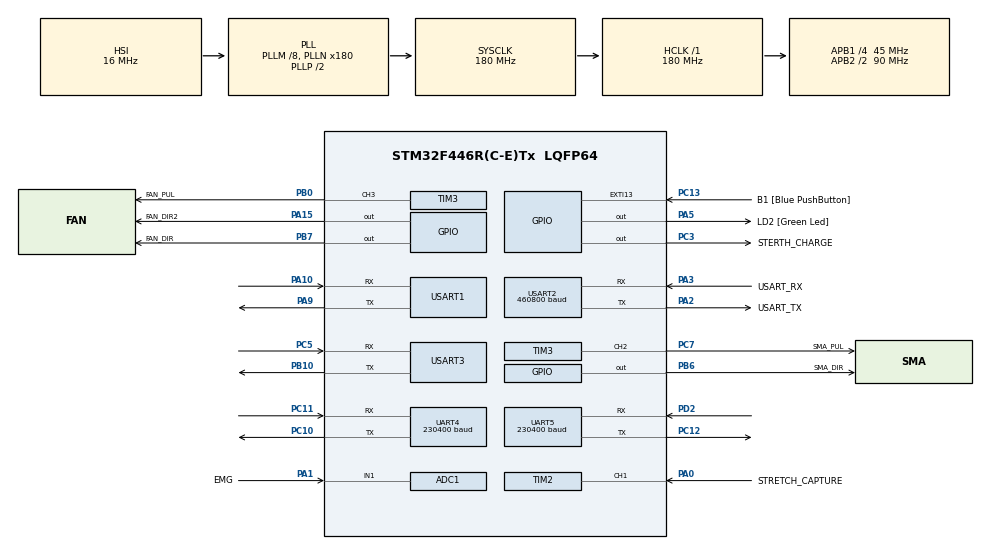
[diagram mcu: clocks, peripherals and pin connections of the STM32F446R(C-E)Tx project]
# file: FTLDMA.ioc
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ADC1.Channel-10\#ChannelRegularConversion=ADC_CHANNEL_1
ADC1.ContinuousConvMode=ENABLE
ADC1.DMAContinuousRequests=ENABLE
ADC1.EOCSelection=ADC_EOC_SINGLE_CONV
ADC1.ExternalTrigConv=ADC_SOFTWARE_START
ADC1.NbrOfConversion=1
ADC1.NbrOfConversionFlag=1
ADC1.Rank-10\#ChannelRegularConversion=1
ADC1.SamplingTime-10\#ChannelRegularConversion=ADC_SAMPLETIME_56CYCLES
ADC1.ScanConvMode=DISABLE
ADC1.master=1
Dma.ADC1.4.Direction=DMA_PERIPH_TO_MEMORY
Dma.ADC1.4.FIFOMode=DMA_FIFOMODE_DISABLE
Dma.ADC1.4.Instance=DMA2_Stream0
Dma.ADC1.4.MemDataAlignment=DMA_MDATAALIGN_HALFWORD
Dma.ADC1.4.MemInc=DMA_MINC_ENABLE
Dma.ADC1.4.Mode=DMA_CIRCULAR
Dma.ADC1.4.PeriphDataAlignment=DMA_PDATAALIGN_HALFWORD
Dma.ADC1.4.PeriphInc=DMA_PINC_DISABLE
Dma.ADC1.4.Priority=DMA_PRIORITY_LOW
Dma.Request0=USART2_RX
Dma.Request1=USART1_RX
Dma.Request2=UART4_RX
Dma.Request3=UART5_RX
Dma.Request4=ADC1
Dma.Request5=USART3_RX
Dma.UART4_RX.2.Direction=DMA_PERIPH_TO_MEMORY
Dma.UART4_RX.2.FIFOMode=DMA_FIFOMODE_DISABLE
Dma.UART4_RX.2.Instance=DMA1_Stream2
Dma.UART4_RX.2.MemDataAlignment=DMA_MDATAALIGN_BYTE
Dma.UART4_RX.2.MemInc=DMA_MINC_ENABLE
Dma.UART4_RX.2.Mode=DMA_CIRCULAR
Dma.UART4_RX.2.PeriphDataAlignment=DMA_PDATAALIGN_BYTE
Dma.UART4_RX.2.PeriphInc=DMA_PINC_DISABLE
Dma.UART4_RX.2.Priority=DMA_PRIORITY_LOW
Dma.UART5_RX.3.Direction=DMA_PERIPH_TO_MEMORY
Dma.UART5_RX.3.FIFOMode=DMA_FIFOMODE_DISABLE
Dma.UART5_RX.3.Instance=DMA1_Stream0
Dma.UART5_RX.3.MemDataAlignment=DMA_MDATAALIGN_BYTE
Dma.UART5_RX.3.MemInc=DMA_MINC_ENABLE
Dma.UART5_RX.3.Mode=DMA_CIRCULAR
Dma.UART5_RX.3.PeriphDataAlignment=DMA_PDATAALIGN_BYTE
Dma.UART5_RX.3.PeriphInc=DMA_PINC_DISABLE
Dma.UART5_RX.3.Priority=DMA_PRIORITY_LOW
Dma.USART1_RX.1.Direction=DMA_PERIPH_TO_MEMORY
Dma.USART1_RX.1.FIFOMode=DMA_FIFOMODE_DISABLE
Dma.USART1_RX.1.Instance=DMA2_Stream2
Dma.USART1_RX.1.MemDataAlignment=DMA_MDATAALIGN_BYTE
Dma.USART1_RX.1.MemInc=DMA_MINC_ENABLE
Dma.USART1_RX.1.Mode=DMA_CIRCULAR
Dma.USART1_RX.1.PeriphDataAlignment=DMA_PDATAALIGN_BYTE
Dma.USART1_RX.1.PeriphInc=DMA_PINC_DISABLE
Dma.USART1_RX.1.Priority=DMA_PRIORITY_LOW
Dma.USART2_RX.0.Direction=DMA_PERIPH_TO_MEMORY
Dma.USART2_RX.0.FIFOMode=DMA_FIFOMODE_DISABLE
Dma.USART2_RX.0.Instance=DMA1_Stream5
Dma.USART2_RX.0.MemDataAlignment=DMA_MDATAALIGN_BYTE
Dma.USART2_RX.0.MemInc=DMA_MINC_ENABLE
Dma.USART2_RX.0.Mode=DMA_CIRCULAR
Dma.USART2_RX.0.PeriphDataAlignment=DMA_PDATAALIGN_BYTE
Dma.USART2_RX.0.PeriphInc=DMA_PINC_DISABLE
Dma.USART2_RX.0.Priority=DMA_PRIORITY_LOW
Dma.USART3_RX.5.Direction=DMA_PERIPH_TO_MEMORY
Dma.USART3_RX.5.FIFOMode=DMA_FIFOMODE_DISABLE
Dma.USART3_RX.5.Instance=DMA1_Stream1
Dma.USART3_RX.5.MemDataAlignment=DMA_MDATAALIGN_BYTE
Dma.USART3_RX.5.MemInc=DMA_MINC_ENABLE
Dma.USART3_RX.5.Mode=DMA_CIRCULAR
Dma.USART3_RX.5.PeriphDataAlignment=DMA_PDATAALIGN_BYTE
Dma.USART3_RX.5.PeriphInc=DMA_PINC_DISABLE
Dma.USART3_RX.5.Priority=DMA_PRIORITY_LOW
Mcu.Family=STM32F4
Mcu.Name=STM32F446R(C-E)Tx
Mcu.Package=LQFP64
NVIC.ADC_IRQn=true\:0\:0\:false\:false\:true\:true\:true\:true
NVIC.DMA1_Stream0_IRQn=true\:1\:0\:true\:false\:true\:true\:true\:true
NVIC.DMA1_Stream1_IRQn=true\:0\:0\:false\:false\:true\:true\:true\:true
NVIC.DMA1_Stream2_IRQn=true\:1\:0\:true\:false\:true\:true\:true\:true
NVIC.DMA1_Stream5_IRQn=true\:1\:0\:true\:false\:true\:true\:true\:true
NVIC.DMA2_Stream0_IRQn=true\:0\:0\:false\:false\:true\:true\:true\:true
NVIC.DMA2_Stream2_IRQn=true\:1\:0\:true\:false\:true\:true\:true\:true
NVIC.EXTI15_10_IRQn=true\:0\:0\:false\:false\:true\:true\:true\:true
NVIC.PriorityGroup=NVIC_PRIORITYGROUP_4
NVIC.TIM2_IRQn=true\:0\:0\:true\:false\:true\:true\:true\:true
NVIC.TIM4_IRQn=true\:0\:0\:true\:false\:true\:true\:true\:true
NVIC.UART4_IRQn=true\:1\:0\:true\:false\:true\:true\:true\:true
NVIC.UART5_IRQn=true\:1\:0\:true\:false\:true\:true\:true\:true
NVIC.USART1_IRQn=true\:1\:0\:true\:false\:true\:true\:true\:true
NVIC.USART2_IRQn=true\:1\:0\:true\:false\:true\:true\:true\:true
NVIC.USART3_IRQn=true\:0\:0\:false\:false\:true\:true\:true\:true
PA0-WKUP.GPIO_Label=STRETCH_CAPTURE
PA0-WKUP.Signal=S_TIM2_CH1_ETR
PA1.GPIO_Label=EMG
PA1.Signal=ADCx_IN1
PA10.Mode=Asynchronous
PA10.Signal=USART1_RX
PA13.GPIO_Label=TMS
PA13.Mode=Serial_Wire
PA13.Signal=SYS_JTMS-SWDIO
PA14.GPIO_Label=TCK
PA14.Mode=Serial_Wire
PA14.Signal=SYS_JTCK-SWCLK
PA15.GPIO_Label=FAN_DIR2
PA15.GPIO_Speed=GPIO_SPEED_FREQ_MEDIUM
PA15.PinState=GPIO_PIN_SET
PA15.Signal=GPIO_Output
PA2.GPIO_Label=USART_TX
PA2.Mode=Asynchronous
PA2.Signal=USART2_TX
PA3.GPIO_Label=USART_RX
PA3.Mode=Asynchronous
PA3.Signal=USART2_RX
PA5.GPIO_Label=LD2 [Green Led]
PA5.Signal=GPIO_Output
PA9.Mode=Asynchronous
PA9.Signal=USART1_TX
PB0.GPIO_Label=FAN_PUL
PB0.GPIO_Speed=GPIO_SPEED_FREQ_MEDIUM
PB0.Signal=S_TIM3_CH3
PB10.Mode=Asynchronous
PB10.Signal=USART3_TX
PB3.GPIO_Label=SWO
PB3.Signal=SYS_JTDO-SWO
PB6.GPIO_Label=SMA_DIR
PB6.GPIO_Speed=GPIO_SPEED_FREQ_MEDIUM
PB6.PinState=GPIO_PIN_SET
PB6.Signal=GPIO_Output
PB7.GPIO_Label=FAN_DIR
PB7.GPIO_Speed=GPIO_SPEED_FREQ_MEDIUM
PB7.PinState=GPIO_PIN_RESET
PB7.Signal=GPIO_Output
PC10.Mode=Asynchronous
PC10.Signal=UART4_TX
PC11.Mode=Asynchronous
PC11.Signal=UART4_RX
PC12.Mode=Asynchronous
PC12.Signal=UART5_TX
PC13.GPIO_Label=B1 [Blue PushButton]
PC13.GPIO_ModeDefaultEXTI=GPIO_MODE_IT_FALLING
PC13.Signal=GPXTI13
PC14-OSC32_IN.Mode=LSE-External-Oscillator
PC14-OSC32_IN.Signal=RCC_OSC32_IN
PC15-OSC32_OUT.Mode=LSE-External-Oscillator
PC15-OSC32_OUT.Signal=RCC_OSC32_OUT
PC3.GPIO_Label=STERTH_CHARGE
PC3.GPIO_ModeDefaultOutputPP=GPIO_MODE_OUTPUT_PP
PC3.GPIO_PuPd=GPIO_NOPULL
PC3.GPIO_Speed=GPIO_SPEED_FREQ_VERY_HIGH
PC3.PinState=GPIO_PIN_SET
PC3.Signal=GPIO_Output
PC5.Mode=Asynchronous
PC5.Signal=USART3_RX
PC7.GPIO_Label=SMA_PUL
PC7.GPIO_Speed=GPIO_SPEED_FREQ_MEDIUM
PC7.Signal=S_TIM3_CH2
PD2.Mode=Asynchronous
PD2.Signal=UART5_RX
PH0-OSC_IN.Mode=HSE-External-Oscillator
PH0-OSC_IN.Signal=RCC_OSC_IN
PH1-OSC_OUT.Mode=HSE-External-Oscillator
PH1-OSC_OUT.Signal=RCC_OSC_OUT
ProjectManager.HeapSize=0x200
ProjectManager.StackSize=0x400
ProjectManager.TargetToolchain=STM32CubeIDE
RCC.48MHZClocksFreq_Value=84000000
RCC.AHBFreq_Value=180000000
RCC.APB1CLKDivider=RCC_HCLK_DIV4
RCC.APB1Freq_Value=45000000
RCC.APB1TimFreq_Value=90000000
RCC.APB2CLKDivider=RCC_HCLK_DIV2
RCC.APB2Freq_Value=90000000
RCC.APB2TimFreq_Value=180000000
RCC.CortexFreq_Value=180000000
RCC.FLatency-AdvancedSettings=FLASH_LATENCY_5
RCC.HCLKFreq_Value=180000000
RCC.HSE_VALUE=8000000
RCC.HSI_VALUE=16000000
RCC.PLLM=8
RCC.PLLN=180
RCC.SYSCLKFreq_VALUE=180000000
RCC.SYSCLKSource=RCC_SYSCLKSOURCE_PLLCLK
RCC.USBFreq_Value=180000000
RCC.VCOOutputFreq_Value=360000000
SH.ADCx_IN1.0=ADC1_IN1,IN1
SH.S_TIM2_CH1_ETR.0=TIM2_CH1,Input_Capture1_from_TI1
SH.S_TIM3_CH2.0=TIM3_CH2,PWM Generation2 CH2
SH.S_TIM3_CH3.0=TIM3_CH3,PWM Generation3 CH3
TIM2.Channel-Input_Capture1_from_TI1=TIM_CHANNEL_1
TIM2.Period=3999999999
TIM2.Prescaler=0
TIM2.TIM_MasterOutputTrigger=TIM_TRGO_UPDATE
TIM3.Channel-PWM\ Generation2\ CH2=TIM_CHANNEL_2
TIM3.Channel-PWM\ Generation3\ CH3=TIM_CHANNEL_3
TIM3.OCFastMode_PWM-PWM\ Generation2\ CH2=TIM_OCFAST_ENABLE
TIM3.OCFastMode_PWM-PWM\ Generation3\ CH3=TIM_OCFAST_ENABLE
TIM3.Period=2999
TIM3.Prescaler=0
TIM3.TIM_MasterOutputTrigger=TIM_TRGO_UPDATE
TIM4.Period=59999
TIM4.Prescaler=14
TIM4.TIM_MasterOutputTrigger=TIM_TRGO_UPDATE
TIM8.Period=44999
TIM8.Prescaler=1
TIM8.TIM_MasterOutputTrigger=TIM_TRGO_UPDATE
UART4.BaudRate=230400
UART4.VirtualMode=Asynchronous
UART5.BaudRate=230400
UART5.VirtualMode=Asynchronous
USART1.VirtualMode=VM_ASYNC
USART2.BaudRate=460800
USART2.VirtualMode=VM_ASYNC
USART3.VirtualMode=VM_ASYNC
VP_TIM2_VS_ClockSourceINT.Mode=Internal
VP_TIM3_VS_ClockSourceINT.Mode=Internal
VP_TIM4_VS_ClockSourceINT.Mode=Internal
VP_TIM8_VS_ClockSourceINT.Mode=Internal
board=NUCLEO-F446RE

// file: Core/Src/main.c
/* USER CODE BEGIN Header */
/**
  ******************************************************************************
  * @file           : main.c
  * @brief          : Main program body
  ******************************************************************************
  * @attention
  *
  * Copyright (c) 2024 STMicroelectronics.
  * All rights reserved.
  *
  * This software is licensed under terms that can be found in the LICENSE file
  * in the root directory of this software component.
  * If no LICENSE file comes with this software, it is provided AS-IS.
  *
  ******************************************************************************
  */
/* USER CODE END Header */
#include "main.h"

/* USER CODE BEGIN Includes */
#include <stdio.h>
#include <stdint.h>
#include <stdlib.h>
#include <math.h>
#include <inttypes.h>
#include <string.h>
#include <filters.h>
#include <ctype.h>

/* USER CODE END Includes */

/* USER CODE BEGIN PD */
#define SBUF_SIZE 64
#define PI 3.14159265358979323846

/* 서미스터 계산에 필요한 상수 정의 (3.3V, 12비트 ADC, 기준저항 10kΩ) */
#define ADC_MAX        4095.0f
#define VREF           3.3f
#define REF_RESISTOR   10000.0f  // 기준 저항값(10kΩ)

/* Steinhart-Hart 계수 (SRS Thermistor Calculator에서 구한 값) */
#define A_COEFF 1.128167446e-3f
#define B_COEFF 2.324706017e-4f
#define C_COEFF 8.072137307e-8f
/* USER CODE END PD */

ADC_HandleTypeDef hadc1;
DMA_HandleTypeDef hdma_adc1;

TIM_HandleTypeDef htim2;
TIM_HandleTypeDef htim3;
TIM_HandleTypeDef htim4;
TIM_HandleTypeDef htim8;

UART_HandleTypeDef huart4;
UART_HandleTypeDef huart5;
UART_HandleTypeDef huart1;
UART_HandleTypeDef huart2;
UART_HandleTypeDef huart3;
DMA_HandleTypeDef hdma_uart4_rx;
DMA_HandleTypeDef hdma_uart5_rx;
DMA_HandleTypeDef hdma_usart1_rx;
DMA_HandleTypeDef hdma_usart2_rx;
DMA_HandleTypeDef hdma_usart3_rx;

/* USER CODE BEGIN PV */
/******FLAGS******/
volatile uint8_t tim4Flag = 0;
volatile uint8_t spi2Flag = 0;
volatile uint8_t tempFlag = 1;
volatile uint8_t expFlag = 0;
volatile uint8_t actFlag = 0;
volatile uint8_t adc1Flag = 0;
volatile uint8_t adc2Flag = 0;

/******COUNT******/
uint32_t count = 0;
uint8_t exp_count = 0;
uint16_t sample_count = 0;
volatile uint32_t cycle_counter = 0;

/******SENSORS******/
float temp = 0.0;
float length = 0; //Length of stretch sensor
float angle = 0.0;
uint8_t force_buf[20];
float force;
uint8_t sign;
uint32_t adcval1;
uint32_t adcval2;

double emg_raw = 0.0;
double EMGMAF = 0.0;
float muscle = 0.0;
float target_temp = 30.0;
float target_force = 0.0;
float muscle_force = 0.0;
float muscle_act = 0.0;
float muscle_MAF = 0.0;
float test = 0.0;

/******CONTROLLER******/
float pgain = 50.0f;
float igain = 0.10f;
float dgain = 1.0f;

float p_control = 0.0f;
float i_control = 0.0f;
float d_control = 0.0f;
float pid_control = 0.0f;
float real_error = 0.0f;
float acc_error = 0.0f;
float error_gap = 0.0f;

uint8_t pid_buf[5];

volatile uint32_t lastTick = 0;
volatile float dt = 0.1f;
float prev_error = 0.0f;

/******FILTER******/
float alpha = 0.98;  //Coefficient of integral filter
float prev_output = 0;  //Previous value of integral filter

/******SERIAL COMMUNICATION SETTINGS******/
uint8_t uart4_rx_buffer[UART4_RX_BUFFER_SIZE];
uint8_t uart5_rx_buffer[UART5_RX_BUFFER_SIZE];

// 기타 UART/USART DMA 수신 버퍼
uint8_t usart1_rx_buffer[USART1_RX_BUFFER_SIZE];
uint8_t usart2_rx_buffer[USART2_RX_BUFFER_SIZE];
uint8_t usart3_rx_buffer[USART3_RX_BUFFER_SIZE];

// IMU 파싱 결과 저장 (각 3개: Roll, Pitch, Yaw)
float euler1[6] = {0};  // UART4
float euler2[6] = {0};  // UART5

float kneeAngleMAF = 0.0;

// IMU 데이터 파싱 완료 플래그
volatile uint8_t imu4_flag = 0;
volatile uint8_t imu5_flag = 0;
/* USER CODE END PV */

void SystemClock_Config(void);
static void MX_GPIO_Init(void);
static void MX_DMA_Init(void);
static void MX_USART2_UART_Init(void);
static void MX_TIM2_Init(void);
static void MX_TIM4_Init(void);
static void MX_USART3_UART_Init(void);
static void MX_TIM3_Init(void);
static void MX_UART5_Init(void);
static void MX_USART1_UART_Init(void);
static void MX_TIM8_Init(void);
static void MX_UART4_Init(void);
static void MX_ADC1_Init(void);
/* USER CODE BEGIN PFP */
float KneeAngleEstimation(void);
float GetMatchingLength(float filteredValue);
static float ConvertThermistorSH(uint32_t adcValue);
int _write(int file, char* p, int len){
    HAL_UART_Transmit(&huart2, (uint8_t*)p, len, 1);
    return len;
}

void UpdatePIDControl(float measured_force);
void UpdateDeltaTime(void);
/* USER CODE END PFP */

int main(void)
{

  /* MCU Configuration--------------------------------------------------------*/

  /* Reset of all peripherals, Initializes the Flash interface and the Systick. */
  HAL_Init();

  /* Configure the system clock */
  SystemClock_Config();

  /* Initialize all configured peripherals */
  MX_GPIO_Init();
  MX_DMA_Init();
  MX_USART2_UART_Init();
  MX_TIM2_Init();
  MX_TIM4_Init();
  MX_USART3_UART_Init();
  MX_TIM3_Init();
  MX_UART5_Init();
  MX_USART1_UART_Init();
  MX_TIM8_Init();
  MX_UART4_Init();
  MX_ADC1_Init();
  /* USER CODE BEGIN 2 */
  HAL_TIM_IC_Start_IT(&htim2, TIM_CHANNEL_1);
  HAL_TIM_Base_Start_IT(&htim4);
  HAL_TIM_PWM_Start(&htim3, TIM_CHANNEL_2);
  HAL_TIM_PWM_Start(&htim3, TIM_CHANNEL_3);
  HAL_TIM_Base_Start(&htim8);
  HAL_ADC_Start_DMA(&hadc1, &adcval1, 1);
  HAL_UART_Receive_DMA(&huart1, usart1_rx_buffer, USART1_RX_BUFFER_SIZE);
  HAL_UART_Receive_DMA(&huart2, usart2_rx_buffer, USART2_RX_BUFFER_SIZE);
  HAL_UART_Receive_DMA(&huart3, usart3_rx_buffer, USART3_RX_BUFFER_SIZE);
  HAL_UART_Receive_DMA(&huart4, uart4_rx_buffer, UART4_RX_BUFFER_SIZE);
  HAL_UART_Receive_DMA(&huart5, uart5_rx_buffer, UART5_RX_BUFFER_SIZE);
  __HAL_UART_ENABLE_IT(&huart1, UART_IT_IDLE);
  __HAL_UART_ENABLE_IT(&huart2, UART_IT_IDLE);
  __HAL_UART_ENABLE_IT(&huart3, UART_IT_IDLE);
  __HAL_UART_ENABLE_IT(&huart4, UART_IT_IDLE);
  __HAL_UART_ENABLE_IT(&huart5, UART_IT_IDLE);

  HAL_UART_Transmit(&huart4, (uint8_t*)"<sb6>", strlen("<sb6>"), 100);
  HAL_UART_Transmit(&huart5, (uint8_t*)"<sb6>", strlen("<sb6>"), 100);
  HAL_Delay(500);

  HAL_UART_Transmit(&huart4, (uint8_t*)"<sor10>", strlen("<sor10>"), 100);
  HAL_UART_Transmit(&huart5, (uint8_t*)"<sor10>", strlen("<sor10>"), 100);
  HAL_Delay(500);

  HAL_UART_Transmit(&huart4, (uint8_t*)"<soc1>", strlen("<soc1>"), 100);
  HAL_UART_Transmit(&huart5, (uint8_t*)"<soc1>", strlen("<soc1>"), 100);
  HAL_Delay(500);

  HAL_UART_Transmit(&huart4, (uint8_t*)"<sem0>", strlen("<sem0>"), 100);
  HAL_UART_Transmit(&huart5, (uint8_t*)"<sem0>", strlen("<sem0>"), 100);
  HAL_Delay(500);

  // 오일러각 출력모드 설정
  HAL_UART_Transmit(&huart4, (uint8_t*)"<sof1>", strlen("<sof1>"), 100);
  HAL_UART_Transmit(&huart5, (uint8_t*)"<sof1>", strlen("<sof1>"), 100);
  HAL_Delay(500);

  HAL_UART_Transmit(&huart4, (uint8_t*)"<soa5>", strlen("<soa5>"), 100);
  HAL_UART_Transmit(&huart5, (uint8_t*)"<soa5>", strlen("<soa5>"), 100);
  HAL_Delay(500);

  // 현재 자세 기준 설정
  HAL_UART_Transmit(&huart4, (uint8_t*)"<cmo>", strlen("<cmo>"), 100);
  HAL_UART_Transmit(&huart5, (uint8_t*)"<cmo>", strlen("<cmo>"), 100);
  HAL_Delay(500);

  /* USER CODE END 2 */

  /* Infinite loop */
  /* USER CODE BEGIN WHILE */
  while (1)
  {
      /******GET EMG DATA******/
      if(adc1Flag == 1){
          adc1Flag = 0;
          emg_raw = adcval1;
          double HPFEMG = EMGBWHPF(emg_raw);
          double RECEMG = fabs(HPFEMG);
          float LPFEMG = EMGBWLPF(RECEMG);
          float neural_act = NEURAL_ACTIVATION(LPFEMG);
		  muscle_act = MUSCLE_ACTIVATION(neural_act);
		  muscle_MAF = MAFEMG(muscle_act);
		  //muscle_force = FORCE_GENERATION(muscle_act);
      }

      /******MAIN******/
      if (tim4Flag == 1){
          tim4Flag = 0;

          if (expFlag == 1) {
              // 0.1Hz 사인 웨이브 계산 (주기 10초), -PI/2 위상 적용
              /*float t = (cycle_counter % 5000) * 0.01f;
              target_force = 80+((sin(2 * PI * 0.02f * t - PI/2) + 1) / 2) * 70.0f;
              cycle_counter++;*/
        	  target_force = muscle_MAF*2 - force;
        	  if(target_force > 150){
        		  target_force = 150;
        	  }
        	  else if(target_force < 0){
        		  target_force = 0;
        	  }

              // dt 업데이트 후 force(현재 힘) 기반 PID 제어 실행
              UpdateDeltaTime();
              UpdatePIDControl(force);
          }
          angle = KneeAngleEstimation();
          float filtered_streth = BWLPF(count, 4);
          length = GetMatchingLength(filtered_streth);

          //printf("%.2f,%.2f,%.2f,%.2f\r\n", temp, length, force, target_force);
          //printf("%.2f\r\n", muscle_MAF);
          //printf("%.2f,%.2f,%.2f\r\n", muscle_MAF, target_force, force);
          //printf("%.2f,%.2f,%.2f\r\n", euler1[0], euler2[0], angle);
          //printf("%.2f,%.2f\r\n", angle, muscle_MAF);
          if(muscle_MAF > 40){
        	  test = 1;
          }
          else{
        	  test = 0;
          }
          printf("%.2f,%.2f\r\n", muscle_MAF, target_force);

          sample_count++;
          count = 0;
          TIM2->CNT = 0;
          TIM2->CCR1 = 0;
          HAL_GPIO_WritePin(GPIOC, GPIO_PIN_3, GPIO_PIN_SET);
      }
  }
    /* USER CODE END WHILE */

}

void SystemClock_Config(void)
{
  RCC_OscInitTypeDef RCC_OscInitStruct = {0};
  RCC_ClkInitTypeDef RCC_ClkInitStruct = {0};

  /** Configure the main internal regulator output voltage
  */
  __HAL_RCC_PWR_CLK_ENABLE();
  __HAL_PWR_VOLTAGESCALING_CONFIG(PWR_REGULATOR_VOLTAGE_SCALE1);

  /** Initializes the RCC Oscillators according to the specified parameters
  * in the RCC_OscInitTypeDef structure.
  */
  RCC_OscInitStruct.OscillatorType = RCC_OSCILLATORTYPE_HSI;
  RCC_OscInitStruct.HSIState = RCC_HSI_ON;
  RCC_OscInitStruct.HSICalibrationValue = RCC_HSICALIBRATION_DEFAULT;
  RCC_OscInitStruct.PLL.PLLState = RCC_PLL_ON;
  RCC_OscInitStruct.PLL.PLLSource = RCC_PLLSOURCE_HSI;
  RCC_OscInitStruct.PLL.PLLM = 8;
  RCC_OscInitStruct.PLL.PLLN = 180;
  RCC_OscInitStruct.PLL.PLLP = RCC_PLLP_DIV2;
  RCC_OscInitStruct.PLL.PLLQ = 2;
  RCC_OscInitStruct.PLL.PLLR = 2;
  if (HAL_RCC_OscConfig(&RCC_OscInitStruct) != HAL_OK)
  {
    Error_Handler();
  }

  /** Activate the Over-Drive mode
  */
  if (HAL_PWREx_EnableOverDrive() != HAL_OK)
  {
    Error_Handler();
  }

  /** Initializes the CPU, AHB and APB buses clocks
  */
  RCC_ClkInitStruct.ClockType = RCC_CLOCKTYPE_HCLK|RCC_CLOCKTYPE_SYSCLK
                              |RCC_CLOCKTYPE_PCLK1|RCC_CLOCKTYPE_PCLK2;
  RCC_ClkInitStruct.SYSCLKSource = RCC_SYSCLKSOURCE_PLLCLK;
  RCC_ClkInitStruct.AHBCLKDivider = RCC_SYSCLK_DIV1;
  RCC_ClkInitStruct.APB1CLKDivider = RCC_HCLK_DIV4;
  RCC_ClkInitStruct.APB2CLKDivider = RCC_HCLK_DIV2;

  if (HAL_RCC_ClockConfig(&RCC_ClkInitStruct, FLASH_LATENCY_5) != HAL_OK)
  {
    Error_Handler();
  }
}

static void MX_ADC1_Init(void)
{

  ADC_ChannelConfTypeDef sConfig = {0};

  /** Configure the global features of the ADC (Clock, Resolution, Data Alignment and number of conversion)
  */
  hadc1.Instance = ADC1;
  hadc1.Init.ClockPrescaler = ADC_CLOCK_SYNC_PCLK_DIV4;
  hadc1.Init.Resolution = ADC_RESOLUTION_12B;
  hadc1.Init.ScanConvMode = DISABLE;
  hadc1.Init.ContinuousConvMode = ENABLE;
  hadc1.Init.DiscontinuousConvMode = DISABLE;
  hadc1.Init.ExternalTrigConvEdge = ADC_EXTERNALTRIGCONVEDGE_NONE;
  hadc1.Init.ExternalTrigConv = ADC_SOFTWARE_START;
  hadc1.Init.DataAlign = ADC_DATAALIGN_RIGHT;
  hadc1.Init.NbrOfConversion = 1;
  hadc1.Init.DMAContinuousRequests = ENABLE;
  hadc1.Init.EOCSelection = ADC_EOC_SINGLE_CONV;
  if (HAL_ADC_Init(&hadc1) != HAL_OK)
  {
    Error_Handler();
  }

  /** Configure for the selected ADC regular channel its corresponding rank in the sequencer and its sample time.
  */
  sConfig.Channel = ADC_CHANNEL_1;
  sConfig.Rank = 1;
  sConfig.SamplingTime = ADC_SAMPLETIME_56CYCLES;
  if (HAL_ADC_ConfigChannel(&hadc1, &sConfig) != HAL_OK)
  {
    Error_Handler();
  }

}

static void MX_TIM2_Init(void)
{

  TIM_ClockConfigTypeDef sClockSourceConfig = {0};
  TIM_MasterConfigTypeDef sMasterConfig = {0};
  TIM_IC_InitTypeDef sConfigIC = {0};

  htim2.Instance = TIM2;
  htim2.Init.Prescaler = 0;
  htim2.Init.CounterMode = TIM_COUNTERMODE_UP;
  htim2.Init.Period = 3999999999;
  htim2.Init.ClockDivision = TIM_CLOCKDIVISION_DIV1;
  htim2.Init.AutoReloadPreload = TIM_AUTORELOAD_PRELOAD_DISABLE;
  if (HAL_TIM_Base_Init(&htim2) != HAL_OK)
  {
    Error_Handler();
  }
  sClockSourceConfig.ClockSource = TIM_CLOCKSOURCE_INTERNAL;
  if (HAL_TIM_ConfigClockSource(&htim2, &sClockSourceConfig) != HAL_OK)
  {
    Error_Handler();
  }
  if (HAL_TIM_IC_Init(&htim2) != HAL_OK)
  {
    Error_Handler();
  }
  sMasterConfig.MasterOutputTrigger = TIM_TRGO_UPDATE;
  sMasterConfig.MasterSlaveMode = TIM_MASTERSLAVEMODE_DISABLE;
  if (HAL_TIMEx_MasterConfigSynchronization(&htim2, &sMasterConfig) != HAL_OK)
  {
    Error_Handler();
  }
  sConfigIC.ICPolarity = TIM_INPUTCHANNELPOLARITY_RISING;
  sConfigIC.ICSelection = TIM_ICSELECTION_DIRECTTI;
  sConfigIC.ICPrescaler = TIM_ICPSC_DIV1;
  sConfigIC.ICFilter = 0;
  if (HAL_TIM_IC_ConfigChannel(&htim2, &sConfigIC, TIM_CHANNEL_1) != HAL_OK)
  {
    Error_Handler();
  }

}

static void MX_TIM3_Init(void)
{

  TIM_ClockConfigTypeDef sClockSourceConfig = {0};
  TIM_MasterConfigTypeDef sMasterConfig = {0};
  TIM_OC_InitTypeDef sConfigOC = {0};

  htim3.Instance = TIM3;
  htim3.Init.Prescaler = 0;
  htim3.Init.CounterMode = TIM_COUNTERMODE_UP;
  htim3.Init.Period = 2999;
  htim3.Init.ClockDivision = TIM_CLOCKDIVISION_DIV1;
  htim3.Init.AutoReloadPreload = TIM_AUTORELOAD_PRELOAD_DISABLE;
  if (HAL_TIM_Base_Init(&htim3) != HAL_OK)
  {
    Error_Handler();
  }
  sClockSourceConfig.ClockSource = TIM_CLOCKSOURCE_INTERNAL;
  if (HAL_TIM_ConfigClockSource(&htim3, &sClockSourceConfig) != HAL_OK)
  {
    Error_Handler();
  }
  if (HAL_TIM_PWM_Init(&htim3) != HAL_OK)
  {
    Error_Handler();
  }
  sMasterConfig.MasterOutputTrigger = TIM_TRGO_UPDATE;
  sMasterConfig.MasterSlaveMode = TIM_MASTERSLAVEMODE_DISABLE;
  if (HAL_TIMEx_MasterConfigSynchronization(&htim3, &sMasterConfig) != HAL_OK)
  {
    Error_Handler();
  }
  sConfigOC.OCMode = TIM_OCMODE_PWM1;
  sConfigOC.Pulse = 0;
  sConfigOC.OCPolarity = TIM_OCPOLARITY_HIGH;
  sConfigOC.OCFastMode = TIM_OCFAST_ENABLE;
  if (HAL_TIM_PWM_ConfigChannel(&htim3, &sConfigOC, TIM_CHANNEL_2) != HAL_OK)
  {
    Error_Handler();
  }
  if (HAL_TIM_PWM_ConfigChannel(&htim3, &sConfigOC, TIM_CHANNEL_3) != HAL_OK)
  {
    Error_Handler();
  }
  HAL_TIM_MspPostInit(&htim3);

}

static void MX_TIM4_Init(void)
{

  TIM_ClockConfigTypeDef sClockSourceConfig = {0};
  TIM_MasterConfigTypeDef sMasterConfig = {0};

  htim4.Instance = TIM4;
  htim4.Init.Prescaler = 14;
  htim4.Init.CounterMode = TIM_COUNTERMODE_UP;
  htim4.Init.Period = 59999;
  htim4.Init.ClockDivision = TIM_CLOCKDIVISION_DIV1;
  htim4.Init.AutoReloadPreload = TIM_AUTORELOAD_PRELOAD_DISABLE;
  if (HAL_TIM_Base_Init(&htim4) != HAL_OK)
  {
    Error_Handler();
  }
  sClockSourceConfig.ClockSource = TIM_CLOCKSOURCE_INTERNAL;
  if (HAL_TIM_ConfigClockSource(&htim4, &sClockSourceConfig) != HAL_OK)
  {
    Error_Handler();
  }
  sMasterConfig.MasterOutputTrigger = TIM_TRGO_UPDATE;
  sMasterConfig.MasterSlaveMode = TIM_MASTERSLAVEMODE_DISABLE;
  if (HAL_TIMEx_MasterConfigSynchronization(&htim4, &sMasterConfig) != HAL_OK)
  {
    Error_Handler();
  }

}

static void MX_TIM8_Init(void)
{

  TIM_ClockConfigTypeDef sClockSourceConfig = {0};
  TIM_MasterConfigTypeDef sMasterConfig = {0};

  htim8.Instance = TIM8;
  htim8.Init.Prescaler = 1;
  htim8.Init.CounterMode = TIM_COUNTERMODE_UP;
  htim8.Init.Period = 44999;
  htim8.Init.ClockDivision = TIM_CLOCKDIVISION_DIV1;
  htim8.Init.RepetitionCounter = 0;
  htim8.Init.AutoReloadPreload = TIM_AUTORELOAD_PRELOAD_DISABLE;
  if (HAL_TIM_Base_Init(&htim8) != HAL_OK)
  {
    Error_Handler();
  }
  sClockSourceConfig.ClockSource = TIM_CLOCKSOURCE_INTERNAL;
  if (HAL_TIM_ConfigClockSource(&htim8, &sClockSourceConfig) != HAL_OK)
  {
    Error_Handler();
  }
  sMasterConfig.MasterOutputTrigger = TIM_TRGO_UPDATE;
  sMasterConfig.MasterSlaveMode = TIM_MASTERSLAVEMODE_DISABLE;
  if (HAL_TIMEx_MasterConfigSynchronization(&htim8, &sMasterConfig) != HAL_OK)
  {
    Error_Handler();
  }

}

static void MX_UART4_Init(void)
{

  huart4.Instance = UART4;
  huart4.Init.BaudRate = 230400;
  huart4.Init.WordLength = UART_WORDLENGTH_8B;
  huart4.Init.StopBits = UART_STOPBITS_1;
  huart4.Init.Parity = UART_PARITY_NONE;
  huart4.Init.Mode = UART_MODE_TX_RX;
  huart4.Init.HwFlowCtl = UART_HWCONTROL_NONE;
  huart4.Init.OverSampling = UART_OVERSAMPLING_16;
  if (HAL_UART_Init(&huart4) != HAL_OK)
  {
    Error_Handler();
  }

}

static void MX_UART5_Init(void)
{

  huart5.Instance = UART5;
  huart5.Init.BaudRate = 230400;
  huart5.Init.WordLength = UART_WORDLENGTH_8B;
  huart5.Init.StopBits = UART_STOPBITS_1;
  huart5.Init.Parity = UART_PARITY_NONE;
  huart5.Init.Mode = UART_MODE_TX_RX;
  huart5.Init.HwFlowCtl = UART_HWCONTROL_NONE;
  huart5.Init.OverSampling = UART_OVERSAMPLING_16;
  if (HAL_UART_Init(&huart5) != HAL_OK)
  {
    Error_Handler();
  }

}

static void MX_USART1_UART_Init(void)
{

  huart1.Instance = USART1;
  huart1.Init.BaudRate = 115200;
  huart1.Init.WordLength = UART_WORDLENGTH_8B;
  huart1.Init.StopBits = UART_STOPBITS_1;
  huart1.Init.Parity = UART_PARITY_NONE;
  huart1.Init.Mode = UART_MODE_TX_RX;
  huart1.Init.HwFlowCtl = UART_HWCONTROL_NONE;
  huart1.Init.OverSampling = UART_OVERSAMPLING_16;
  if (HAL_UART_Init(&huart1) != HAL_OK)
  {
    Error_Handler();
  }

}

static void MX_USART2_UART_Init(void)
{

  huart2.Instance = USART2;
  huart2.Init.BaudRate = 460800;
  huart2.Init.WordLength = UART_WORDLENGTH_8B;
  huart2.Init.StopBits = UART_STOPBITS_1;
  huart2.Init.Parity = UART_PARITY_NONE;
  huart2.Init.Mode = UART_MODE_TX_RX;
  huart2.Init.HwFlowCtl = UART_HWCONTROL_NONE;
  huart2.Init.OverSampling = UART_OVERSAMPLING_16;
  if (HAL_UART_Init(&huart2) != HAL_OK)
  {
    Error_Handler();
  }

}

static void MX_USART3_UART_Init(void)
{

  huart3.Instance = USART3;
  huart3.Init.BaudRate = 115200;
  huart3.Init.WordLength = UART_WORDLENGTH_8B;
  huart3.Init.StopBits = UART_STOPBITS_1;
  huart3.Init.Parity = UART_PARITY_NONE;
  huart3.Init.Mode = UART_MODE_TX_RX;
  huart3.Init.HwFlowCtl = UART_HWCONTROL_NONE;
  huart3.Init.OverSampling = UART_OVERSAMPLING_16;
  if (HAL_UART_Init(&huart3) != HAL_OK)
  {
    Error_Handler();
  }

}

static void MX_DMA_Init(void)
{

  /* DMA controller clock enable */
  __HAL_RCC_DMA1_CLK_ENABLE();
  __HAL_RCC_DMA2_CLK_ENABLE();

  /* DMA interrupt init */
  /* DMA1_Stream0_IRQn interrupt configuration */
  HAL_NVIC_SetPriority(DMA1_Stream0_IRQn, 1, 0);
  HAL_NVIC_EnableIRQ(DMA1_Stream0_IRQn);
  /* DMA1_Stream1_IRQn interrupt configuration */
  HAL_NVIC_SetPriority(DMA1_Stream1_IRQn, 0, 0);
  HAL_NVIC_EnableIRQ(DMA1_Stream1_IRQn);
  /* DMA1_Stream2_IRQn interrupt configuration */
  HAL_NVIC_SetPriority(DMA1_Stream2_IRQn, 1, 0);
  HAL_NVIC_EnableIRQ(DMA1_Stream2_IRQn);
  /* DMA1_Stream5_IRQn interrupt configuration */
  HAL_NVIC_SetPriority(DMA1_Stream5_IRQn, 1, 0);
  HAL_NVIC_EnableIRQ(DMA1_Stream5_IRQn);
  /* DMA2_Stream0_IRQn interrupt configuration */
  HAL_NVIC_SetPriority(DMA2_Stream0_IRQn, 0, 0);
  HAL_NVIC_EnableIRQ(DMA2_Stream0_IRQn);
  /* DMA2_Stream2_IRQn interrupt configuration */
  HAL_NVIC_SetPriority(DMA2_Stream2_IRQn, 1, 0);
  HAL_NVIC_EnableIRQ(DMA2_Stream2_IRQn);

}

static void MX_GPIO_Init(void)
{
  GPIO_InitTypeDef GPIO_InitStruct = {0};

  /* GPIO Ports Clock Enable */
  __HAL_RCC_GPIOC_CLK_ENABLE();
  __HAL_RCC_GPIOH_CLK_ENABLE();
  __HAL_RCC_GPIOA_CLK_ENABLE();
  __HAL_RCC_GPIOB_CLK_ENABLE();
  __HAL_RCC_GPIOD_CLK_ENABLE();

  /*Configure GPIO pin Output Level */
  HAL_GPIO_WritePin(STERTH_CHARGE_GPIO_Port, STERTH_CHARGE_Pin, GPIO_PIN_SET);

  /*Configure GPIO pin Output Level */
  HAL_GPIO_WritePin(LD2_GPIO_Port, LD2_Pin, GPIO_PIN_RESET);

  /*Configure GPIO pin Output Level */
  HAL_GPIO_WritePin(FAN_DIR2_GPIO_Port, FAN_DIR2_Pin, GPIO_PIN_SET);

  /*Configure GPIO pin Output Level */
  HAL_GPIO_WritePin(SMA_DIR_GPIO_Port, SMA_DIR_Pin, GPIO_PIN_SET);

  /*Configure GPIO pin Output Level */
  HAL_GPIO_WritePin(FAN_DIR_GPIO_Port, FAN_DIR_Pin, GPIO_PIN_RESET);

  /*Configure GPIO pin : B1_Pin */
  GPIO_InitStruct.Pin = B1_Pin;
  GPIO_InitStruct.Mode = GPIO_MODE_IT_FALLING;
  GPIO_InitStruct.Pull = GPIO_NOPULL;
  HAL_GPIO_Init(B1_GPIO_Port, &GPIO_InitStruct);

  /*Configure GPIO pin : STERTH_CHARGE_Pin */
  GPIO_InitStruct.Pin = STERTH_CHARGE_Pin;
  GPIO_InitStruct.Mode = GPIO_MODE_OUTPUT_PP;
  GPIO_InitStruct.Pull = GPIO_NOPULL;
  GPIO_InitStruct.Speed = GPIO_SPEED_FREQ_VERY_HIGH;
  HAL_GPIO_Init(STERTH_CHARGE_GPIO_Port, &GPIO_InitStruct);

  /*Configure GPIO pin : LD2_Pin */
  GPIO_InitStruct.Pin = LD2_Pin;
  GPIO_InitStruct.Mode = GPIO_MODE_OUTPUT_PP;
  GPIO_InitStruct.Pull = GPIO_NOPULL;
  GPIO_InitStruct.Speed = GPIO_SPEED_FREQ_LOW;
  HAL_GPIO_Init(LD2_GPIO_Port, &GPIO_InitStruct);

  /*Configure GPIO pin : FAN_DIR2_Pin */
  GPIO_InitStruct.Pin = FAN_DIR2_Pin;
  GPIO_InitStruct.Mode = GPIO_MODE_OUTPUT_PP;
  GPIO_InitStruct.Pull = GPIO_NOPULL;
  GPIO_InitStruct.Speed = GPIO_SPEED_FREQ_MEDIUM;
  HAL_GPIO_Init(FAN_DIR2_GPIO_Port, &GPIO_InitStruct);

  /*Configure GPIO pins : SMA_DIR_Pin FAN_DIR_Pin */
  GPIO_InitStruct.Pin = SMA_DIR_Pin|FAN_DIR_Pin;
  GPIO_InitStruct.Mode = GPIO_MODE_OUTPUT_PP;
  GPIO_InitStruct.Pull = GPIO_NOPULL;
  GPIO_InitStruct.Speed = GPIO_SPEED_FREQ_MEDIUM;
  HAL_GPIO_Init(GPIOB, &GPIO_InitStruct);

  /* EXTI interrupt init*/
  HAL_NVIC_SetPriority(EXTI15_10_IRQn, 0, 0);
  HAL_NVIC_EnableIRQ(EXTI15_10_IRQn);

}

/* USER CODE BEGIN 4 */
/* Timer interrupt callback */
void HAL_TIM_PeriodElapsedCallback(TIM_HandleTypeDef *htim){
  if(htim->Instance==TIM4){
    tim4Flag = 1;
  }
}

/* EXTI Callback */
void HAL_GPIO_EXTI_Callback(uint16_t GPIO_Pin)
{
    if(GPIO_Pin == B1_Pin)  // B1 버튼에 연결된 핀인지 확인
    {
        // expFlag 토글: 0이면 활성화, 1이면 비활성화
        if(expFlag == 0)
        {
            HAL_GPIO_WritePin(LD2_GPIO_Port, LD2_Pin, GPIO_PIN_SET);
            expFlag = 1;
        }
        else
        {
            HAL_GPIO_WritePin(LD2_GPIO_Port, LD2_Pin, GPIO_PIN_RESET);
            expFlag = 0;
            target_force = 0;
        }
    }
}

/**
 * @brief Captures the value of timer when the capacitor had charged for measuring time constant of the stretch sensor.
 */
void HAL_TIM_IC_CaptureCallback(TIM_HandleTypeDef *htim){
  if (htim->Instance == TIM2 && htim->Channel == HAL_TIM_ACTIVE_CHANNEL_1)
  {
    HAL_GPIO_WritePin(GPIOC, GPIO_PIN_3, GPIO_PIN_RESET);
    count = TIM2->CCR1;
  }
}

/**
 * @brief Common UART Idle processing.
 *        Called from each UART IRQ Handler.
 */
void UART_IdleProcess(UART_HandleTypeDef *huart, uint8_t *rx_buffer, uint16_t buffer_size)
{
    if(__HAL_UART_GET_FLAG(huart, UART_FLAG_IDLE))
    {
        __HAL_UART_CLEAR_IDLEFLAG(huart);
        HAL_UART_DMAStop(huart);
        uint16_t rx_length = buffer_size - __HAL_DMA_GET_COUNTER(huart->hdmarx);
        if(rx_length > 0)
        {
            ProcessData(rx_buffer, rx_length, huart);
        }
        HAL_UART_Receive_DMA(huart, rx_buffer, buffer_size);
    }
}

/**
 * @brief Process received data.
 *        For USART2, parse PID command; otherwise, echo data via huart2.
 */
void ProcessData(uint8_t* data, uint16_t len, UART_HandleTypeDef *huart)
{
    if(huart->Instance == USART2)
    {
        char cmd[128] = {0};
        uint16_t copy_len = (len < 127 ? len : 127);
        memcpy(cmd, data, copy_len);
        cmd[copy_len] = '\0';

        // GUI에서는 항상 "P_gain,I_gain,D_gain" 형식으로 전송하므로,
        // 콤마가 포함된 문자열만 처리합니다.
        if (strchr(cmd, ',') != NULL)
        {
            float input_p = 0.0f, input_i = 0.0f, input_d = 0.0f;
            if(sscanf(cmd, "%f,%f,%f", &input_p, &input_i, &input_d) == 3)
            {
                pgain = input_p;
                igain = input_i;
                dgain = input_d;
                printf("PID Gains Updated: P: %.2f, I: %.2f, D: %.2f\r\n", pgain, igain, dgain);
            }
        }
        // 개별 명령("P...", "I...", "D...")는 무시하거나 필요에 따라 처리할 수 있습니다.
    }
    else if(huart->Instance == USART3){
        char temp_str[128] = {0};
        uint16_t copy_len = (len < 127 ? len : 127);
        memcpy(temp_str, data, copy_len);
        temp_str[copy_len] = '\0';

        float new_temp;
        if(sscanf(temp_str, "%f", &new_temp) == 1)
        {
            temp = new_temp;
        }
    }
    else if(huart->Instance == USART1){
        char force_str[128] = {0};
        uint16_t copy_len = (len < 127 ? len : 127);
        memcpy(force_str, data, copy_len);
        force_str[copy_len] = '\0';

        float new_force;
        if(sscanf(force_str, "%f", &new_force) == 1)
        {
            force = new_force;
        }
    }
    else if (huart->Instance == UART4) {
        // IMU 데이터 파싱 (UART4)
        char buf[SBUF_SIZE] = {0};
        uint16_t copy_len = (len < (SBUF_SIZE - 1) ? len : (SBUF_SIZE - 1));
        memcpy(buf, data, copy_len);
        buf[copy_len] = '\0';

        if (buf[0] != '*') {
            return;
        }

        char *payload = buf + 1;
        int payload_len = strlen(payload);
        if (payload_len > 1 && (payload[payload_len - 2] == '\r' && payload[payload_len - 1] == '\n')) {
            payload[payload_len - 2] = '\0';
        }

        char *token = strtok(payload, ",");
        float items[6] = {0};
        int i = 0;

        while (token != NULL && i < 6) {
            if (isdigit(token[0]) || token[0] == '-' || token[0] == '.') {
                items[i] = atof(token);
                i++;
            }
            token = strtok(NULL, ",");
        }
        for (int j = 0; j < 6; j++) {
            euler1[j] = items[j];
        }
        imu4_flag = 1;
    }
    else if (huart->Instance == UART5) {
        // IMU 데이터 파싱 (UART5)
        char buf[SBUF_SIZE] = {0};
        uint16_t copy_len = (len < (SBUF_SIZE - 1) ? len : (SBUF_SIZE - 1));
        memcpy(buf, data, copy_len);
        buf[copy_len] = '\0';

        if (buf[0] != '*') {
            return;
        }

        char *payload = buf + 1;
        int payload_len = strlen(payload);
        if (payload_len > 1 && (payload[payload_len - 2] == '\r' && payload[payload_len - 1] == '\n')) {
            payload[payload_len - 2] = '\0';
        }

        char *token = strtok(payload, ",");
        float items[6] = {0};
        int i = 0;
        while (token != NULL && i < 6) {
            if (isdigit(token[0]) || token[0] == '-' || token[0] == '.') {
                items[i] = atof(token);
                i++;
            }
            token = strtok(NULL, ",");
        }
        for (int j = 0; j < 6; j++) {
            euler2[j] = items[j];
        }
        imu5_flag = 1;
    }
}

/**
 * @brief Estimating the Knee Angle.
 */
float KneeAngleEstimation(void) {
    static float lastKneeAngle = 0.0f;

    if (imu4_flag && imu5_flag) {
        float kneeAngle = euler2[0] - euler1[0] +230;
        if (kneeAngle > 180)
            kneeAngle -= 360;
        if (kneeAngle < -180)
            kneeAngle += 360;

        float filteredAngle = MAF(kneeAngle);

        lastKneeAngle = filteredAngle;
        imu4_flag = 0;
        imu5_flag = 0;
        return filteredAngle;
    }
    return lastKneeAngle;
}

/**
 * @brief Returns matching length from filtered value of stretch sensor data.
 */
float GetMatchingLength(float filteredValue) {
    float result = 0.0083815 * filteredValue - 249.04;
    if(result < 0) {
        result = 0;
        return result;
    }
    else {
        return result;
    }
}

/**
 * @brief Update PID control based on measured force.
 */
void UpdatePIDControl(float measured_force)
{
    // PID 제어를 위한 오차 계산
    real_error = target_force - measured_force;

    // dt는 UpdateDeltaTime() 함수로 갱신되었다고 가정
    acc_error += real_error * dt;
    error_gap = real_error - prev_error;
    prev_error = real_error;

    // PID 제어 계산 (각 게인은 GUI에서 전송받은 값 사용)
    p_control = pgain * real_error;
    i_control = igain * acc_error;
    d_control = dgain * (error_gap / dt);
    pid_control = p_control + i_control + d_control;

    // 여기서는 히팅 PWM 제어를 0 ~ 100 범위의 비율로 가정 (필요시 클램프 값 조정)
    if(pid_control < 0)
        pid_control = 0;
    if(pid_control > 100.0f)
        pid_control = 100.0f;

    uint32_t period = __HAL_TIM_GET_AUTORELOAD(&htim3) + 1;
    uint32_t heating_pwm = (uint32_t)((pid_control / 100.0f) * period);

    // 히팅 PWM: 온도가 70℃ 미만일 때만 적용
    if(temp < 85.0f)
    {
         __HAL_TIM_SET_COMPARE(&htim3, TIM_CHANNEL_2, heating_pwm);
    }
    else
    {
         __HAL_TIM_SET_COMPARE(&htim3, TIM_CHANNEL_2, 0);
    }

    // 팬 PWM: 제어 실행 중에는 항상 최대속도로 구동
    __HAL_TIM_SET_COMPARE(&htim3, TIM_CHANNEL_3, period);
}

/**
 * @brief Update timer (dt) using HAL_GetTick()
 */
void UpdateDeltaTime(void)
{
    uint32_t currentTick = HAL_GetTick();
    uint32_t diff;

    if(currentTick >= lastTick)
    {
        diff = currentTick - lastTick;
    }
    else
    {
        diff = (0xFFFFFFFF - lastTick) + currentTick + 1;
    }

    dt = diff / 1000.0f;
    if(dt < 0.0001f)
    {
        dt = 0.0001f;
    }
    lastTick = currentTick;
}

void HAL_ADC_ConvCpltCallback(ADC_HandleTypeDef* hadc){
    if(hadc->Instance == ADC1){
        adc1Flag = 1;
    }
}

/* USER CODE END 4 */

void Error_Handler(void)
{
  __disable_irq();
  while (1)
  {
  }
}
